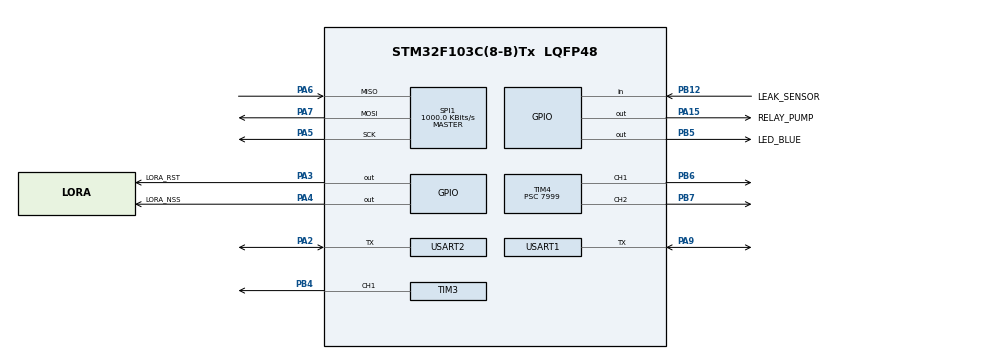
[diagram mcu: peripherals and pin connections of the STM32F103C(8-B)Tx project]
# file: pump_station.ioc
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Mcu.Family=STM32F1
Mcu.Name=STM32F103C(8-B)Tx
Mcu.Package=LQFP48
NVIC.PriorityGroup=NVIC_PRIORITYGROUP_4
NVIC.TIM2_IRQn=true\:0\:0\:false\:false\:true\:true\:true\:true
PA13.Mode=Serial_Wire
PA13.Signal=SYS_JTMS-SWDIO
PA14.Mode=Serial_Wire
PA14.Signal=SYS_JTCK-SWCLK
PA15.GPIO_Label=RELAY_PUMP
PA15.Signal=GPIO_Output
PA2.Mode=Half_duplex(single_wire_mode)
PA2.Signal=USART2_TX
PA3.GPIO_Label=LORA_RST
PA3.Signal=GPIO_Output
PA4.GPIO_Label=LORA_NSS
PA4.Signal=GPIO_Output
PA5.Mode=Full_Duplex_Master
PA5.Signal=SPI1_SCK
PA6.Mode=Full_Duplex_Master
PA6.Signal=SPI1_MISO
PA7.Mode=Full_Duplex_Master
PA7.Signal=SPI1_MOSI
PA9.Mode=Half_duplex(single_wire_mode)
PA9.Signal=USART1_TX
PB12.GPIO_Label=LEAK_SENSOR
PB12.Signal=GPIO_Input
PB4.Signal=S_TIM3_CH1
PB5.GPIO_Label=LED_BLUE
PB5.Signal=GPIO_Output
PB6.Signal=S_TIM4_CH1
PB7.Signal=S_TIM4_CH2
ProjectManager.HeapSize=0x200
ProjectManager.StackSize=0x400
ProjectManager.TargetToolchain=STM32CubeIDE
RCC.APB1Freq_Value=8000000
RCC.APB2Freq_Value=8000000
SH.S_TIM3_CH1.0=TIM3_CH1,PWM Generation1 CH1
SH.S_TIM4_CH1.0=TIM4_CH1,PWM Generation1 CH1
SH.S_TIM4_CH2.0=TIM4_CH2,PWM Generation2 CH2
SPI1.BaudRatePrescaler=SPI_BAUDRATEPRESCALER_8
SPI1.CalculateBaudRate=1000.0 KBits/s
SPI1.Direction=SPI_DIRECTION_2LINES
SPI1.Mode=SPI_MODE_MASTER
SPI1.VirtualType=VM_MASTER
TIM2.Period=7999
TIM2.Prescaler=1000
TIM3.Channel-PWM\ Generation1\ CH1=TIM_CHANNEL_1
TIM3.Period=1000
TIM3.Prescaler=7999
TIM4.Channel-PWM\ Generation1\ CH1=TIM_CHANNEL_1
TIM4.Channel-PWM\ Generation2\ CH2=TIM_CHANNEL_2
TIM4.Period=1000
TIM4.Prescaler=7999
TIM4.Pulse-PWM\ Generation1\ CH1=0
TIM4.Pulse-PWM\ Generation2\ CH2=0
USART1.VirtualMode=VM_ASYNC
USART2.VirtualMode=VM_ASYNC
VP_TIM2_VS_ClockSourceINT.Mode=Internal
VP_TIM4_VS_ClockSourceINT.Mode=Internal
board=custom

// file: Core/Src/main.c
/* USER CODE BEGIN Header */
/**
  ******************************************************************************
  * @file           : main.c
  * @brief          : Main program body
  ******************************************************************************
  * @attention
  *
  * Copyright (c) 2024 STMicroelectronics.
  * All rights reserved.
  *
  * This software is licensed under terms that can be found in the LICENSE file
  * in the root directory of this software component.
  * If no LICENSE file comes with this software, it is provided AS-IS.
  *
  ******************************************************************************
  */
/* USER CODE END Header */
#include "main.h"

/* USER CODE BEGIN Includes */
#include "ds18b20.h"
#include "sx1262.h"
#include "modbus.h"
/* USER CODE END Includes */

SPI_HandleTypeDef hspi1;

TIM_HandleTypeDef htim2;
TIM_HandleTypeDef htim3;
TIM_HandleTypeDef htim4;

UART_HandleTypeDef huart1;
UART_HandleTypeDef huart2;

/* USER CODE BEGIN PV */
DS18B20 temperatureSensor1;
DS18B20 temperatureSensor2;
volatile int16_t temperature_motor;
volatile int16_t temperature_air;
volatile uint8_t leak;
/* USER CODE END PV */

void SystemClock_Config(void);
static void MX_GPIO_Init(void);
static void MX_SPI1_Init(void);
static void MX_USART1_UART_Init(void);
static void MX_USART2_UART_Init(void);
static void MX_TIM2_Init(void);
static void MX_TIM4_Init(void);
static void MX_TIM3_Init(void);

/* USER CODE BEGIN 0 */

void config_temperature_sensor(DS18B20 *sensor) {
	DS18B20_InitializationCommand(sensor);
	DS18B20_ReadRom(sensor);
	DS18B20_ReadScratchpad(sensor);
	uint8_t settings[3];
	settings[0] = sensor->temperatureLimitHigh;
	settings[1] = sensor->temperatureLimitLow;
	settings[2] = DS18B20_12_BITS_CONFIG;
	DS18B20_InitializationCommand(sensor);
	DS18B20_SkipRom(sensor);
	DS18B20_WriteScratchpad(sensor, settings);
}

void start_temperature_measure(DS18B20 *sensor) {
	DS18B20_InitializationCommand(sensor);
	DS18B20_SkipRom(sensor);
	DS18B20_ConvertT(sensor, DS18B20_NONE);
}

void stop_temperature_measure(DS18B20 *sensor) {
	DS18B20_InitializationCommand(sensor);
	DS18B20_SkipRom(sensor);
	DS18B20_ReadScratchpad(sensor);
}

void check_leak_sensor() {
	if(HAL_GPIO_ReadPin(LEAK_SENSOR_GPIO_Port, LEAK_SENSOR_Pin) == GPIO_PIN_RESET) {
		modbus_discrete_inputs[MODBUS_DI_LEAK] = 1;
		TIM3->CCR1 = 500;

	}
	else {
		modbus_discrete_inputs[MODBUS_DI_LEAK] = 0;
		TIM3->CCR1 = 1000;
	}
}

void HAL_TIM_PeriodElapsedCallback(TIM_HandleTypeDef *htim) {
	if(htim->Instance == TIM2) {

		/* Motor temperature */
		if (temperatureSensor1.isConnected == 1) {
			stop_temperature_measure(&temperatureSensor1);
			modbus_input_registers[MODBUS_IR_MOTOR_TEMP] = (int16_t)temperatureSensor1.temperature;
			start_temperature_measure(&temperatureSensor1);
			if (temperatureSensor1.temperature > 80.0) {
				modbus_discrete_inputs[MODBUS_DI_OVERHEAT] = 1;
				TIM4->CCR1 = 1000; // Red LED 1 turned on
			}
			else {
				modbus_discrete_inputs[MODBUS_DI_OVERHEAT] = 0;
				TIM4->CCR1 = 0; // Red LED 1 turned off
			}
		}
		else {
			TIM4->CCR1 = 500;  // Red LED 1  blinks every 500 ms
			config_temperature_sensor(&temperatureSensor1);
		}
		/* Air temperature */
		if (temperatureSensor2.isConnected == 1) {
			stop_temperature_measure(&temperatureSensor2);
			modbus_input_registers[MODBUS_IR_AIR_TEMP] = (int16_t)temperatureSensor2.temperature;
			start_temperature_measure(&temperatureSensor2);
			if (temperatureSensor1.temperature < 1.0) {
				TIM4->CCR2 = 1000; // Red LED 2 turned on
			}
			else {
				TIM4->CCR2 = 0; // Red LED 2 turned off
			}
		}
		else {
			TIM4->CCR2 = 500;  // Red LED 2 blinks every 500 ms
			config_temperature_sensor(&temperatureSensor2);
		}

		/* check all sensors and turn off/on pump */
		if (modbus_discrete_inputs[MODBUS_DI_LEAK] | modbus_discrete_inputs[MODBUS_DI_OVERHEAT]) {
			modbus_coils[MODBUS_RELAY_PUMP] = 0;
			HAL_GPIO_WritePin(RELAY_PUMP_GPIO_Port, RELAY_PUMP_Pin, GPIO_PIN_RESET);
		}
		else {
			modbus_coils[MODBUS_RELAY_PUMP] = 1;
			HAL_GPIO_WritePin(RELAY_PUMP_GPIO_Port, RELAY_PUMP_Pin, GPIO_PIN_SET);
		}
	}
}
/* USER CODE END 0 */

int main(void)
{

  /* MCU Configuration--------------------------------------------------------*/

  /* Reset of all peripherals, Initializes the Flash interface and the Systick. */
  HAL_Init();

  /* Configure the system clock */
  SystemClock_Config();

  /* Initialize all configured peripherals */
  MX_GPIO_Init();
  MX_SPI1_Init();
  MX_USART1_UART_Init();
  MX_USART2_UART_Init();
  MX_TIM2_Init();
  MX_TIM4_Init();
  MX_TIM3_Init();
  /* USER CODE BEGIN 2 */
  HAL_TIM_PWM_Start(&htim3, TIM_CHANNEL_1);
  HAL_TIM_PWM_Start(&htim4, TIM_CHANNEL_1);
  HAL_TIM_PWM_Start(&htim4, TIM_CHANNEL_2);
  HAL_TIM_Base_Start_IT(&htim2);
  DS18B20_Init(&temperatureSensor1, &huart1);
  DS18B20_Init(&temperatureSensor2, &huart2);
  HAL_Delay(1000);
  Lora_Init();
  /* USER CODE END 2 */

  /* Infinite loop */
  /* USER CODE BEGIN WHILE */
  while (1)
  {
	uint8_t request_size = Lora_Rx(modbus_request);
	if (request_size > 0) {
		HAL_GPIO_WritePin(LED_BLUE_GPIO_Port, LED_BLUE_Pin, GPIO_PIN_SET);

		LoraPacketStatus_t lora_status = Lora_GetPacketStatus();
		modbus_input_registers[MODBUS_IR_RSSI] = (int16_t)lora_status.Rssi;
		modbus_input_registers[MODBUS_IR_SNR] = (int16_t)lora_status.Snr;

		uint8_t response_size = modbus_transaction(request_size);
		if (response_size > 0) {
			Lora_Tx(modbus_response, response_size);
		}
		HAL_GPIO_WritePin(LED_BLUE_GPIO_Port, LED_BLUE_Pin, GPIO_PIN_RESET);
	}
	check_leak_sensor();

    /* USER CODE END WHILE */

  }
}

void SystemClock_Config(void)
{
  RCC_OscInitTypeDef RCC_OscInitStruct = {0};
  RCC_ClkInitTypeDef RCC_ClkInitStruct = {0};

  /** Initializes the RCC Oscillators according to the specified parameters
  * in the RCC_OscInitTypeDef structure.
  */
  RCC_OscInitStruct.OscillatorType = RCC_OSCILLATORTYPE_HSI;
  RCC_OscInitStruct.HSIState = RCC_HSI_ON;
  RCC_OscInitStruct.HSICalibrationValue = RCC_HSICALIBRATION_DEFAULT;
  RCC_OscInitStruct.PLL.PLLState = RCC_PLL_NONE;
  if (HAL_RCC_OscConfig(&RCC_OscInitStruct) != HAL_OK)
  {
    Error_Handler();
  }

  /** Initializes the CPU, AHB and APB buses clocks
  */
  RCC_ClkInitStruct.ClockType = RCC_CLOCKTYPE_HCLK|RCC_CLOCKTYPE_SYSCLK
                              |RCC_CLOCKTYPE_PCLK1|RCC_CLOCKTYPE_PCLK2;
  RCC_ClkInitStruct.SYSCLKSource = RCC_SYSCLKSOURCE_HSI;
  RCC_ClkInitStruct.AHBCLKDivider = RCC_SYSCLK_DIV1;
  RCC_ClkInitStruct.APB1CLKDivider = RCC_HCLK_DIV1;
  RCC_ClkInitStruct.APB2CLKDivider = RCC_HCLK_DIV1;

  if (HAL_RCC_ClockConfig(&RCC_ClkInitStruct, FLASH_LATENCY_0) != HAL_OK)
  {
    Error_Handler();
  }
}

static void MX_SPI1_Init(void)
{

  /* SPI1 parameter configuration*/
  hspi1.Instance = SPI1;
  hspi1.Init.Mode = SPI_MODE_MASTER;
  hspi1.Init.Direction = SPI_DIRECTION_2LINES;
  hspi1.Init.DataSize = SPI_DATASIZE_8BIT;
  hspi1.Init.CLKPolarity = SPI_POLARITY_LOW;
  hspi1.Init.CLKPhase = SPI_PHASE_1EDGE;
  hspi1.Init.NSS = SPI_NSS_SOFT;
  hspi1.Init.BaudRatePrescaler = SPI_BAUDRATEPRESCALER_8;
  hspi1.Init.FirstBit = SPI_FIRSTBIT_MSB;
  hspi1.Init.TIMode = SPI_TIMODE_DISABLE;
  hspi1.Init.CRCCalculation = SPI_CRCCALCULATION_DISABLE;
  hspi1.Init.CRCPolynomial = 10;
  if (HAL_SPI_Init(&hspi1) != HAL_OK)
  {
    Error_Handler();
  }

}

static void MX_TIM2_Init(void)
{

  TIM_ClockConfigTypeDef sClockSourceConfig = {0};
  TIM_MasterConfigTypeDef sMasterConfig = {0};

  htim2.Instance = TIM2;
  htim2.Init.Prescaler = 1000;
  htim2.Init.CounterMode = TIM_COUNTERMODE_UP;
  htim2.Init.Period = 7999;
  htim2.Init.ClockDivision = TIM_CLOCKDIVISION_DIV1;
  htim2.Init.AutoReloadPreload = TIM_AUTORELOAD_PRELOAD_DISABLE;
  if (HAL_TIM_Base_Init(&htim2) != HAL_OK)
  {
    Error_Handler();
  }
  sClockSourceConfig.ClockSource = TIM_CLOCKSOURCE_INTERNAL;
  if (HAL_TIM_ConfigClockSource(&htim2, &sClockSourceConfig) != HAL_OK)
  {
    Error_Handler();
  }
  sMasterConfig.MasterOutputTrigger = TIM_TRGO_RESET;
  sMasterConfig.MasterSlaveMode = TIM_MASTERSLAVEMODE_DISABLE;
  if (HAL_TIMEx_MasterConfigSynchronization(&htim2, &sMasterConfig) != HAL_OK)
  {
    Error_Handler();
  }

}

static void MX_TIM3_Init(void)
{

  TIM_MasterConfigTypeDef sMasterConfig = {0};
  TIM_OC_InitTypeDef sConfigOC = {0};

  htim3.Instance = TIM3;
  htim3.Init.Prescaler = 7999;
  htim3.Init.CounterMode = TIM_COUNTERMODE_UP;
  htim3.Init.Period = 1000;
  htim3.Init.ClockDivision = TIM_CLOCKDIVISION_DIV1;
  htim3.Init.AutoReloadPreload = TIM_AUTORELOAD_PRELOAD_DISABLE;
  if (HAL_TIM_PWM_Init(&htim3) != HAL_OK)
  {
    Error_Handler();
  }
  sMasterConfig.MasterOutputTrigger = TIM_TRGO_RESET;
  sMasterConfig.MasterSlaveMode = TIM_MASTERSLAVEMODE_DISABLE;
  if (HAL_TIMEx_MasterConfigSynchronization(&htim3, &sMasterConfig) != HAL_OK)
  {
    Error_Handler();
  }
  sConfigOC.OCMode = TIM_OCMODE_PWM1;
  sConfigOC.Pulse = 0;
  sConfigOC.OCPolarity = TIM_OCPOLARITY_HIGH;
  sConfigOC.OCFastMode = TIM_OCFAST_DISABLE;
  if (HAL_TIM_PWM_ConfigChannel(&htim3, &sConfigOC, TIM_CHANNEL_1) != HAL_OK)
  {
    Error_Handler();
  }
  HAL_TIM_MspPostInit(&htim3);

}

static void MX_TIM4_Init(void)
{

  TIM_ClockConfigTypeDef sClockSourceConfig = {0};
  TIM_MasterConfigTypeDef sMasterConfig = {0};
  TIM_OC_InitTypeDef sConfigOC = {0};

  htim4.Instance = TIM4;
  htim4.Init.Prescaler = 7999;
  htim4.Init.CounterMode = TIM_COUNTERMODE_UP;
  htim4.Init.Period = 1000;
  htim4.Init.ClockDivision = TIM_CLOCKDIVISION_DIV1;
  htim4.Init.AutoReloadPreload = TIM_AUTORELOAD_PRELOAD_DISABLE;
  if (HAL_TIM_Base_Init(&htim4) != HAL_OK)
  {
    Error_Handler();
  }
  sClockSourceConfig.ClockSource = TIM_CLOCKSOURCE_INTERNAL;
  if (HAL_TIM_ConfigClockSource(&htim4, &sClockSourceConfig) != HAL_OK)
  {
    Error_Handler();
  }
  if (HAL_TIM_PWM_Init(&htim4) != HAL_OK)
  {
    Error_Handler();
  }
  sMasterConfig.MasterOutputTrigger = TIM_TRGO_RESET;
  sMasterConfig.MasterSlaveMode = TIM_MASTERSLAVEMODE_DISABLE;
  if (HAL_TIMEx_MasterConfigSynchronization(&htim4, &sMasterConfig) != HAL_OK)
  {
    Error_Handler();
  }
  sConfigOC.OCMode = TIM_OCMODE_PWM1;
  sConfigOC.Pulse = 0;
  sConfigOC.OCPolarity = TIM_OCPOLARITY_HIGH;
  sConfigOC.OCFastMode = TIM_OCFAST_DISABLE;
  if (HAL_TIM_PWM_ConfigChannel(&htim4, &sConfigOC, TIM_CHANNEL_1) != HAL_OK)
  {
    Error_Handler();
  }
  if (HAL_TIM_PWM_ConfigChannel(&htim4, &sConfigOC, TIM_CHANNEL_2) != HAL_OK)
  {
    Error_Handler();
  }
  HAL_TIM_MspPostInit(&htim4);

}

static void MX_USART1_UART_Init(void)
{

  huart1.Instance = USART1;
  huart1.Init.BaudRate = 115200;
  huart1.Init.WordLength = UART_WORDLENGTH_8B;
  huart1.Init.StopBits = UART_STOPBITS_1;
  huart1.Init.Parity = UART_PARITY_NONE;
  huart1.Init.Mode = UART_MODE_TX_RX;
  huart1.Init.HwFlowCtl = UART_HWCONTROL_NONE;
  huart1.Init.OverSampling = UART_OVERSAMPLING_16;
  if (HAL_HalfDuplex_Init(&huart1) != HAL_OK)
  {
    Error_Handler();
  }

}

static void MX_USART2_UART_Init(void)
{

  huart2.Instance = USART2;
  huart2.Init.BaudRate = 115200;
  huart2.Init.WordLength = UART_WORDLENGTH_8B;
  huart2.Init.StopBits = UART_STOPBITS_1;
  huart2.Init.Parity = UART_PARITY_NONE;
  huart2.Init.Mode = UART_MODE_TX_RX;
  huart2.Init.HwFlowCtl = UART_HWCONTROL_NONE;
  huart2.Init.OverSampling = UART_OVERSAMPLING_16;
  if (HAL_HalfDuplex_Init(&huart2) != HAL_OK)
  {
    Error_Handler();
  }

}

static void MX_GPIO_Init(void)
{
  GPIO_InitTypeDef GPIO_InitStruct = {0};

  /* GPIO Ports Clock Enable */
  __HAL_RCC_GPIOA_CLK_ENABLE();
  __HAL_RCC_GPIOB_CLK_ENABLE();

  /*Configure GPIO pin Output Level */
  HAL_GPIO_WritePin(GPIOA, LORA_RST_Pin|LORA_NSS_Pin|RELAY_PUMP_Pin, GPIO_PIN_RESET);

  /*Configure GPIO pin Output Level */
  HAL_GPIO_WritePin(LED_BLUE_GPIO_Port, LED_BLUE_Pin, GPIO_PIN_RESET);

  /*Configure GPIO pins : LORA_RST_Pin LORA_NSS_Pin RELAY_PUMP_Pin */
  GPIO_InitStruct.Pin = LORA_RST_Pin|LORA_NSS_Pin|RELAY_PUMP_Pin;
  GPIO_InitStruct.Mode = GPIO_MODE_OUTPUT_PP;
  GPIO_InitStruct.Pull = GPIO_NOPULL;
  GPIO_InitStruct.Speed = GPIO_SPEED_FREQ_LOW;
  HAL_GPIO_Init(GPIOA, &GPIO_InitStruct);

  /*Configure GPIO pin : LEAK_SENSOR_Pin */
  GPIO_InitStruct.Pin = LEAK_SENSOR_Pin;
  GPIO_InitStruct.Mode = GPIO_MODE_INPUT;
  GPIO_InitStruct.Pull = GPIO_NOPULL;
  HAL_GPIO_Init(LEAK_SENSOR_GPIO_Port, &GPIO_InitStruct);

  /*Configure GPIO pin : LED_BLUE_Pin */
  GPIO_InitStruct.Pin = LED_BLUE_Pin;
  GPIO_InitStruct.Mode = GPIO_MODE_OUTPUT_PP;
  GPIO_InitStruct.Pull = GPIO_NOPULL;
  GPIO_InitStruct.Speed = GPIO_SPEED_FREQ_LOW;
  HAL_GPIO_Init(LED_BLUE_GPIO_Port, &GPIO_InitStruct);

}

void Error_Handler(void)
{
  __disable_irq();
  while (1)
  {
  }
}
